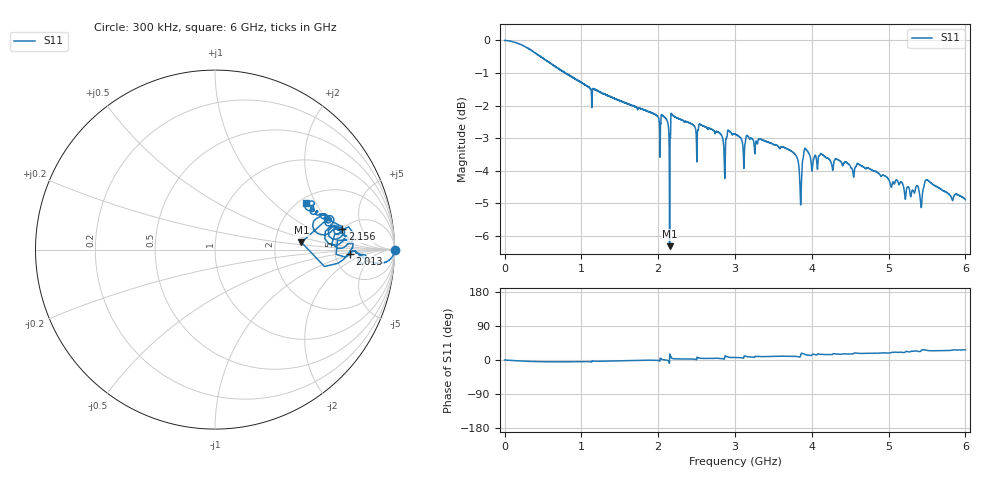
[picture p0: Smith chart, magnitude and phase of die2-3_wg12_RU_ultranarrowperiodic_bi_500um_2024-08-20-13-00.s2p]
!Keysight Technologies,P9374A,MY57304198,A.17.20.09
!Date: Tuesday, August 20, 2024 13:00:20
!Correction: S11(C  1-Port  )
!S21(C  1-Port  )
!S12(Off)
!S22(Off)
!S2P File: Measurements: S11, S21, S12, S22:
# Hz S  dB  R 50
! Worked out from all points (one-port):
!   6000 points, 300 kHz to 6 GHz, reference 50 ohm
!   lowest |S11| = -6.3 dB at 2.149 GHz (marker M1), VSWR 2.87, Z = 142 + j15 ohm
!   |S11| at or under -10 dB: nowhere
!   S11 on the Smith chart (normalised r, x): 300 kHz: open; 2.013 GHz: 7.02, -0.76; 2.156 GHz: 4.94, +2.36; 6 GHz: 2.19, +1.67
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300000  0.00 -0.0  -200.00 45.0  -200.00 45.0  -200.00 45.0
4.213491e8  -0.42 -4.2  -200.00 45.0  -200.00 45.0  -200.00 45.0
1.000417e9  -1.29 -4.4  -200.00 45.0  -200.00 45.0  -200.00 45.0
2.000533e9  -2.35 -0.9  -200.00 45.0  -200.00 45.0  -200.00 45.0
2.012535e9  -2.46 -1.8  -200.00 45.0  -200.00 45.0  -200.00 45.0
2.117547e9  -2.46 -0.7  -200.00 45.0  -200.00 45.0  -200.00 45.0
2.148551e9  -6.31 4.8  -200.00 45.0  -200.00 45.0  -200.00 45.0
2.155551e9  -2.87 9.3  -200.00 45.0  -200.00 45.0  -200.00 45.0
2.195556e9  -2.32 3.5  -200.00 45.0  -200.00 45.0  -200.00 45.0
2.472588e9  -2.63 2.3  -200.00 45.0  -200.00 45.0  -200.00 45.0
2.533596e9  -2.57 5.2  -200.00 45.0  -200.00 45.0  -200.00 45.0
2.834631e9  -2.96 3.7  -200.00 45.0  -200.00 45.0  -200.00 45.0
2.866634e9  -4.24 6.9  -200.00 45.0  -200.00 45.0  -200.00 45.0
3.00065e9  -2.87 6.6  -200.00 45.0  -200.00 45.0  -200.00 45.0
3.745737e9  -3.42 9.9  -200.00 45.0  -200.00 45.0  -200.00 45.0
3.824746e9  -3.74 8.6  -200.00 45.0  -200.00 45.0  -200.00 45.0
3.85875e9  -4.85 16.1  -200.00 45.0  -200.00 45.0  -200.00 45.0
3.924758e9  -3.34 13.7  -200.00 45.0  -200.00 45.0  -200.00 45.0
4.000767e9  -3.99 12.9  -200.00 45.0  -200.00 45.0  -200.00 45.0
5.000883e9  -4.27 18.5  -200.00 45.0  -200.00 45.0  -200.00 45.0
5.463937e9  -4.44 26.8  -200.00 45.0  -200.00 45.0  -200.00 45.0
6e9  -4.89 26.8  -200.00 45.0  -200.00 45.0  -200.00 45.0
